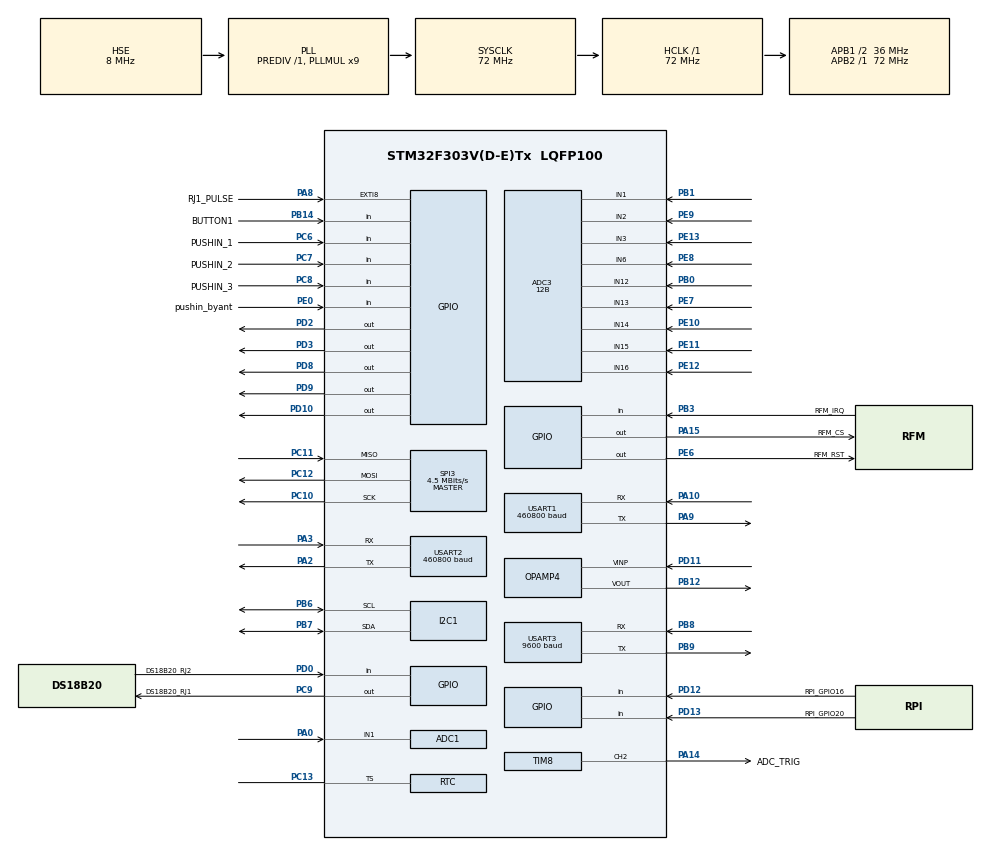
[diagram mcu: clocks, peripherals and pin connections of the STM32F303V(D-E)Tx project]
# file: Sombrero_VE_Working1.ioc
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ADC1.Channel-0\#ChannelRegularConversion=ADC_CHANNEL_1
ADC1.ClockPrescaler=ADC_CLOCK_SYNC_PCLK_DIV4
ADC1.ContinuousConvMode=ENABLE
ADC1.DMAContinuousRequests=ENABLE
ADC1.DataAlign=ADC_DATAALIGN_RIGHT
ADC1.DiscontinuousConvMode=DISABLE
ADC1.EOCSelection=ADC_EOC_SEQ_CONV
ADC1.EnableAnalogWatchDog1=false
ADC1.EnableAnalogWatchDog2=false
ADC1.EnableAnalogWatchDog3=false
ADC1.EnableInjectedConversion=DISABLE
ADC1.EnableRegularConversion=ENABLE
ADC1.ExternalTrigConv=ADC_EXTERNALTRIGCONV_T8_TRGO2
ADC1.ExternalTrigConvEdge=ADC_EXTERNALTRIGCONVEDGE_FALLING
ADC1.LowPowerAutoWait=DISABLE
ADC1.NbrOfConversion=1
ADC1.NbrOfConversionFlag=1
ADC1.Offset-0\#ChannelRegularConversion=0
ADC1.OffsetNumber-0\#ChannelRegularConversion=ADC_OFFSET_NONE
ADC1.Overrun=ADC_OVR_DATA_OVERWRITTEN
ADC1.Rank-0\#ChannelRegularConversion=1
ADC1.Resolution=ADC_RESOLUTION_12B
ADC1.SamplingTime-0\#ChannelRegularConversion=ADC_SAMPLETIME_181CYCLES_5
ADC1.ScanConvMode=ADC_SCAN_DISABLE
ADC1.master=1
ADC3.Channel-0\#ChannelRegularConversion=ADC_CHANNEL_12
ADC3.Channel-1\#ChannelRegularConversion=ADC_CHANNEL_1
ADC3.Channel-2\#ChannelRegularConversion=ADC_CHANNEL_13
ADC3.Channel-3\#ChannelRegularConversion=ADC_CHANNEL_6
ADC3.Channel-4\#ChannelRegularConversion=ADC_CHANNEL_2
ADC3.Channel-5\#ChannelRegularConversion=ADC_CHANNEL_14
ADC3.Channel-6\#ChannelRegularConversion=ADC_CHANNEL_15
ADC3.Channel-7\#ChannelRegularConversion=ADC_CHANNEL_16
ADC3.Channel-8\#ChannelRegularConversion=ADC_CHANNEL_3
ADC3.ClockPrescaler=ADC_CLOCK_SYNC_PCLK_DIV4
ADC3.ContinuousConvMode=ENABLE
ADC3.DMAContinuousRequests=ENABLE
ADC3.DataAlign=ADC_DATAALIGN_RIGHT
ADC3.DiscontinuousConvMode=DISABLE
ADC3.EOCSelection=ADC_EOC_SEQ_CONV
ADC3.EnableAnalogWatchDog1=false
ADC3.EnableAnalogWatchDog2=false
ADC3.EnableAnalogWatchDog3=false
ADC3.EnableInjectedConversion=DISABLE
ADC3.EnableRegularConversion=ENABLE
ADC3.ExternalTrigConv=ADC_EXTERNALTRIGCONV_T8_TRGO2
ADC3.ExternalTrigConvEdge=ADC_EXTERNALTRIGCONVEDGE_FALLING
ADC3.LowPowerAutoWait=DISABLE
ADC3.NbrOfConversion=9
ADC3.NbrOfConversionFlag=1
ADC3.Offset-0\#ChannelRegularConversion=0
ADC3.Offset-1\#ChannelRegularConversion=0
ADC3.Offset-2\#ChannelRegularConversion=0
ADC3.Offset-3\#ChannelRegularConversion=0
ADC3.Offset-4\#ChannelRegularConversion=0
ADC3.Offset-5\#ChannelRegularConversion=0
ADC3.Offset-6\#ChannelRegularConversion=0
ADC3.Offset-7\#ChannelRegularConversion=0
ADC3.Offset-8\#ChannelRegularConversion=0
ADC3.OffsetNumber-0\#ChannelRegularConversion=ADC_OFFSET_NONE
ADC3.OffsetNumber-1\#ChannelRegularConversion=ADC_OFFSET_NONE
ADC3.OffsetNumber-2\#ChannelRegularConversion=ADC_OFFSET_NONE
ADC3.OffsetNumber-3\#ChannelRegularConversion=ADC_OFFSET_NONE
ADC3.OffsetNumber-4\#ChannelRegularConversion=ADC_OFFSET_NONE
ADC3.OffsetNumber-5\#ChannelRegularConversion=ADC_OFFSET_NONE
ADC3.OffsetNumber-6\#ChannelRegularConversion=ADC_OFFSET_NONE
ADC3.OffsetNumber-7\#ChannelRegularConversion=ADC_OFFSET_NONE
ADC3.OffsetNumber-8\#ChannelRegularConversion=ADC_OFFSET_NONE
ADC3.Overrun=ADC_OVR_DATA_OVERWRITTEN
ADC3.Rank-0\#ChannelRegularConversion=1
ADC3.Rank-1\#ChannelRegularConversion=2
ADC3.Rank-2\#ChannelRegularConversion=3
ADC3.Rank-3\#ChannelRegularConversion=4
ADC3.Rank-4\#ChannelRegularConversion=5
ADC3.Rank-5\#ChannelRegularConversion=6
ADC3.Rank-6\#ChannelRegularConversion=7
ADC3.Rank-7\#ChannelRegularConversion=8
ADC3.Rank-8\#ChannelRegularConversion=9
ADC3.Resolution=ADC_RESOLUTION_12B
ADC3.SamplingTime-0\#ChannelRegularConversion=ADC_SAMPLETIME_181CYCLES_5
ADC3.SamplingTime-1\#ChannelRegularConversion=ADC_SAMPLETIME_181CYCLES_5
ADC3.SamplingTime-2\#ChannelRegularConversion=ADC_SAMPLETIME_181CYCLES_5
ADC3.SamplingTime-3\#ChannelRegularConversion=ADC_SAMPLETIME_181CYCLES_5
ADC3.SamplingTime-4\#ChannelRegularConversion=ADC_SAMPLETIME_181CYCLES_5
ADC3.SamplingTime-5\#ChannelRegularConversion=ADC_SAMPLETIME_181CYCLES_5
ADC3.SamplingTime-6\#ChannelRegularConversion=ADC_SAMPLETIME_181CYCLES_5
ADC3.SamplingTime-7\#ChannelRegularConversion=ADC_SAMPLETIME_181CYCLES_5
ADC3.SamplingTime-8\#ChannelRegularConversion=ADC_SAMPLETIME_181CYCLES_5
ADC3.ScanConvMode=ADC_SCAN_ENABLE
ADC3.master=1
ADC4.Channel-0\#ChannelRegularConversion=ADC_CHANNEL_VOPAMP4
ADC4.ClockPrescaler=ADC_CLOCK_SYNC_PCLK_DIV4
ADC4.ContinuousConvMode=ENABLE
ADC4.DMAContinuousRequests=ENABLE
ADC4.DataAlign=ADC_DATAALIGN_RIGHT
ADC4.DiscontinuousConvMode=DISABLE
ADC4.EOCSelection=ADC_EOC_SEQ_CONV
ADC4.EnableAnalogWatchDog1=false
ADC4.EnableAnalogWatchDog2=false
ADC4.EnableAnalogWatchDog3=false
ADC4.EnableInjectedConversion=DISABLE
ADC4.EnableRegularConversion=ENABLE
ADC4.ExternalTrigConv=ADC_EXTERNALTRIGCONV_T8_TRGO2
ADC4.ExternalTrigConvEdge=ADC_EXTERNALTRIGCONVEDGE_FALLING
ADC4.LowPowerAutoWait=DISABLE
ADC4.NbrOfConversion=1
ADC4.NbrOfConversionFlag=1
ADC4.Offset-0\#ChannelRegularConversion=0
ADC4.OffsetNumber-0\#ChannelRegularConversion=ADC_OFFSET_NONE
ADC4.Overrun=ADC_OVR_DATA_OVERWRITTEN
ADC4.Rank-0\#ChannelRegularConversion=1
ADC4.Resolution=ADC_RESOLUTION_12B
ADC4.SamplingTime-0\#ChannelRegularConversion=ADC_SAMPLETIME_181CYCLES_5
ADC4.ScanConvMode=ADC_SCAN_DISABLE
Dma.ADC1.5.Direction=DMA_PERIPH_TO_MEMORY
Dma.ADC1.5.Instance=DMA1_Channel1
Dma.ADC1.5.MemDataAlignment=DMA_MDATAALIGN_HALFWORD
Dma.ADC1.5.MemInc=DMA_MINC_ENABLE
Dma.ADC1.5.Mode=DMA_CIRCULAR
Dma.ADC1.5.PeriphDataAlignment=DMA_PDATAALIGN_HALFWORD
Dma.ADC1.5.PeriphInc=DMA_PINC_DISABLE
Dma.ADC1.5.Priority=DMA_PRIORITY_HIGH
Dma.ADC3.3.Direction=DMA_PERIPH_TO_MEMORY
Dma.ADC3.3.Instance=DMA2_Channel5
Dma.ADC3.3.MemDataAlignment=DMA_MDATAALIGN_HALFWORD
Dma.ADC3.3.MemInc=DMA_MINC_ENABLE
Dma.ADC3.3.Mode=DMA_CIRCULAR
Dma.ADC3.3.PeriphDataAlignment=DMA_PDATAALIGN_HALFWORD
Dma.ADC3.3.PeriphInc=DMA_PINC_DISABLE
Dma.ADC3.3.Priority=DMA_PRIORITY_HIGH
Dma.ADC4.4.Direction=DMA_PERIPH_TO_MEMORY
Dma.ADC4.4.Instance=DMA2_Channel2
Dma.ADC4.4.MemDataAlignment=DMA_MDATAALIGN_HALFWORD
Dma.ADC4.4.MemInc=DMA_MINC_ENABLE
Dma.ADC4.4.Mode=DMA_CIRCULAR
Dma.ADC4.4.PeriphDataAlignment=DMA_PDATAALIGN_HALFWORD
Dma.ADC4.4.PeriphInc=DMA_PINC_DISABLE
Dma.ADC4.4.Priority=DMA_PRIORITY_LOW
Dma.Request0=USART1_RX
Dma.Request1=USART1_TX
Dma.Request2=USART2_RX
Dma.Request3=ADC3
Dma.Request4=ADC4
Dma.Request5=ADC1
Dma.USART1_RX.0.Direction=DMA_PERIPH_TO_MEMORY
Dma.USART1_RX.0.Instance=DMA1_Channel5
Dma.USART1_RX.0.MemDataAlignment=DMA_MDATAALIGN_BYTE
Dma.USART1_RX.0.MemInc=DMA_MINC_ENABLE
Dma.USART1_RX.0.Mode=DMA_NORMAL
Dma.USART1_RX.0.PeriphDataAlignment=DMA_PDATAALIGN_BYTE
Dma.USART1_RX.0.PeriphInc=DMA_PINC_DISABLE
Dma.USART1_RX.0.Priority=DMA_PRIORITY_LOW
Dma.USART1_TX.1.Direction=DMA_MEMORY_TO_PERIPH
Dma.USART1_TX.1.Instance=DMA1_Channel4
Dma.USART1_TX.1.MemDataAlignment=DMA_MDATAALIGN_BYTE
Dma.USART1_TX.1.MemInc=DMA_MINC_ENABLE
Dma.USART1_TX.1.Mode=DMA_NORMAL
Dma.USART1_TX.1.PeriphDataAlignment=DMA_PDATAALIGN_BYTE
Dma.USART1_TX.1.PeriphInc=DMA_PINC_DISABLE
Dma.USART1_TX.1.Priority=DMA_PRIORITY_LOW
Dma.USART2_RX.2.Direction=DMA_PERIPH_TO_MEMORY
Dma.USART2_RX.2.Instance=DMA1_Channel6
Dma.USART2_RX.2.MemDataAlignment=DMA_MDATAALIGN_BYTE
Dma.USART2_RX.2.MemInc=DMA_MINC_ENABLE
Dma.USART2_RX.2.Mode=DMA_NORMAL
Dma.USART2_RX.2.PeriphDataAlignment=DMA_PDATAALIGN_BYTE
Dma.USART2_RX.2.PeriphInc=DMA_PINC_DISABLE
Dma.USART2_RX.2.Priority=DMA_PRIORITY_LOW
I2C1.OwnAddress=21
I2C1.Timing=0x10808DD3
Mcu.Family=STM32F3
Mcu.Name=STM32F303V(D-E)Tx
Mcu.Package=LQFP100
NVIC.ADC1_2_IRQn=true\:0\:0\:false\:false\:true\:true
NVIC.ADC3_IRQn=true\:0\:0\:false\:false\:true\:true
NVIC.ADC4_IRQn=true\:0\:0\:false\:false\:true\:true
NVIC.DMA1_Channel1_IRQn=true\:0\:0\:false\:false\:true\:false
NVIC.DMA1_Channel4_IRQn=true\:0\:0\:false\:false\:true\:false
NVIC.DMA1_Channel5_IRQn=true\:0\:0\:false\:false\:true\:false
NVIC.DMA1_Channel6_IRQn=true\:0\:0\:false\:false\:true\:false
NVIC.DMA2_Channel2_IRQn=true\:0\:0\:false\:false\:true\:false
NVIC.DMA2_Channel5_IRQn=true\:0\:0\:false\:false\:true\:false
NVIC.EXTI9_5_IRQn=true\:0\:0\:false\:false\:true\:true
NVIC.PriorityGroup=NVIC_PRIORITYGROUP_4
NVIC.TAMP_STAMP_IRQn=true\:0\:0\:false\:false\:true\:true
NVIC.TIM1_UP_TIM16_IRQn=true\:0\:0\:false\:false\:true\:true
NVIC.TIM8_TRG_COM_IRQn=true\:0\:0\:false\:false\:true\:true
NVIC.TIM8_UP_IRQn=true\:0\:0\:false\:false\:true\:true
NVIC.USART1_IRQn=true\:0\:0\:false\:false\:true\:true
NVIC.USART2_IRQn=true\:0\:0\:false\:false\:true\:true
OPAMP4.SelfCalibration=Disable
PA0.Mode=IN1-Single-Ended
PA0.Signal=ADC1_IN1
PA10.Mode=Asynchronous
PA10.Signal=USART1_RX
PA14.GPIO_Label=ADC_TRIG
PA14.Signal=S_TIM8_CH2
PA15.GPIO_Label=RFM_CS
PA15.GPIO_ModeDefaultOutputPP=GPIO_MODE_OUTPUT_PP
PA15.GPIO_PuPd=GPIO_NOPULL
PA15.GPIO_Speed=GPIO_SPEED_FREQ_HIGH
PA15.PinState=GPIO_PIN_SET
PA15.Signal=GPIO_Output
PA2.Mode=Asynchronous
PA2.Signal=USART2_TX
PA3.Mode=Asynchronous
PA3.Signal=USART2_RX
PA8.GPIO_Label=RJ1_PULSE
PA8.GPIO_PuPd=GPIO_PULLDOWN
PA8.Signal=GPXTI8
PA9.Mode=Asynchronous
PA9.Signal=USART1_TX
PB0.Mode=IN12-Single-Ended
PB0.Signal=ADC3_IN12
PB1.Mode=IN1-Single-Ended
PB1.Signal=ADC3_IN1
PB12.Mode=Follower
PB12.Signal=OPAMP4_VOUT
PB14.GPIO_Label=BUTTON1
PB14.Signal=GPIO_Input
PB3.GPIO_Label=RFM_IRQ
PB3.GPIO_PuPd=GPIO_NOPULL
PB3.Signal=GPIO_Input
PB6.Mode=I2C
PB6.Signal=I2C1_SCL
PB7.Mode=I2C
PB7.Signal=I2C1_SDA
PB8.Mode=Asynchronous
PB8.Signal=USART3_RX
PB9.Mode=Asynchronous
PB9.Signal=USART3_TX
PC10.Mode=Full_Duplex_Master
PC10.Signal=SPI3_SCK
PC11.Mode=Full_Duplex_Master
PC11.Signal=SPI3_MISO
PC12.Mode=Full_Duplex_Master
PC12.Signal=SPI3_MOSI
PC13.Mode=Timestamp enabled
PC13.Signal=RTC_TS
PC14-OSC32_IN.Mode=LSE-External-Oscillator
PC14-OSC32_IN.Signal=RCC_OSC32_IN
PC15-OSC32_OUT.Mode=LSE-External-Oscillator
PC15-OSC32_OUT.Signal=RCC_OSC32_OUT
PC6.GPIO_Label=PUSHIN_1
PC6.Signal=GPIO_Input
PC7.GPIO_Label=PUSHIN_2
PC7.Signal=GPIO_Input
PC8.GPIO_Label=PUSHIN_3
PC8.Signal=GPIO_Input
PC9.GPIO_Label=DS18B20_RJ1
PC9.Signal=GPIO_Output
PD0.GPIO_Label=DS18B20_RJ2
PD0.Signal=GPIO_Input
PD10.Signal=GPIO_Output
PD11.Mode=Follower
PD11.Signal=OPAMP4_VINP
PD12.GPIO_Label=RPI_GPIO16
PD12.GPIO_PuPd=GPIO_PULLDOWN
PD12.Signal=GPIO_Input
PD13.GPIO_Label=RPI_GPIO20
PD13.GPIO_PuPd=GPIO_PULLDOWN
PD13.Signal=GPIO_Input
PD2.Signal=GPIO_Output
PD3.Signal=GPIO_Output
PD8.Signal=GPIO_Output
PD9.Signal=GPIO_Output
PE0.GPIO_Label=pushin_byant
PE0.Signal=GPIO_Input
PE10.Mode=IN14-Single-Ended
PE10.Signal=ADC3_IN14
PE11.Mode=IN15-Single-Ended
PE11.Signal=ADC3_IN15
PE12.Mode=IN16-Single-Ended
PE12.Signal=ADC3_IN16
PE13.Mode=IN3-Single-Ended
PE13.Signal=ADC3_IN3
PE6.GPIO_Label=RFM_RST
PE6.PinState=GPIO_PIN_RESET
PE6.Signal=GPIO_Output
PE7.Mode=IN13-Single-Ended
PE7.Signal=ADC3_IN13
PE8.Signal=ADCx_IN6P
PE9.Mode=IN2-Single-Ended
PE9.Signal=ADC3_IN2
PF0-OSC_IN.Mode=HSE-External-Oscillator
PF0-OSC_IN.Signal=RCC_OSC_IN
PF1-OSC_OUT.Mode=HSE-External-Oscillator
PF1-OSC_OUT.Signal=RCC_OSC_OUT
PF2.Signal=ADCx_IN10
ProjectManager.HeapSize=0x200
ProjectManager.StackSize=0x400
ProjectManager.TargetToolchain=Makefile
RCC.AHBFreq_Value=72000000
RCC.APB1CLKDivider=RCC_HCLK_DIV2
RCC.APB1Freq_Value=36000000
RCC.APB1TimFreq_Value=72000000
RCC.APB2Freq_Value=72000000
RCC.APB2TimFreq_Value=72000000
RCC.CortexFreq_Value=72000000
RCC.HCLKFreq_Value=72000000
RCC.HSE_VALUE=8000000
RCC.HSI_VALUE=8000000
RCC.I2c1ClockSelection=RCC_I2C1CLKSOURCE_SYSCLK
RCC.PLLMUL=RCC_PLL_MUL9
RCC.PLLSourceVirtual=RCC_PLLSOURCE_HSE
RCC.PRESCALERUSB=RCC_USBCLKSOURCE_PLL_DIV1_5
RCC.RTCClockSelection=RCC_RTCCLKSOURCE_LSE
RCC.SYSCLKFreq_VALUE=72000000
RCC.SYSCLKSourceVirtual=RCC_SYSCLKSOURCE_PLLCLK
RCC.USBFreq_Value=48000000
RCC.Uart4ClockSelection=RCC_UART4CLKSOURCE_SYSCLK
RCC.Usart1ClockSelection=RCC_USART1CLKSOURCE_SYSCLK
RCC.Usart2ClockSelection=RCC_USART2CLKSOURCE_SYSCLK
RCC.Usart3ClockSelection=RCC_USART3CLKSOURCE_SYSCLK
RTC.Date=10
RTC.Hours=18
RTC.Month=RTC_MONTH_FEBRUARY
RTC.Year=20
SH.ADCx_IN10.0=ADC1_IN10
SH.ADCx_IN6P.0=ADC3_IN6,IN6-Single-Ended
SH.S_TIM8_CH2.0=TIM8_CH2,PWM Generation2 CH2
SPI3.BaudRatePrescaler=SPI_BAUDRATEPRESCALER_8
SPI3.CalculateBaudRate=4.5 MBits/s
SPI3.DataSize=SPI_DATASIZE_8BIT
SPI3.Direction=SPI_DIRECTION_2LINES
SPI3.Mode=SPI_MODE_MASTER
SPI3.VirtualType=VM_MASTER
TIM16.AutoReloadPreload=TIM_AUTORELOAD_PRELOAD_DISABLE
TIM16.Period=9999
TIM16.Prescaler=710
TIM8.AutoReloadPreload=TIM_AUTORELOAD_PRELOAD_DISABLE
TIM8.Channel-PWM\ Generation2\ CH2=TIM_CHANNEL_2
TIM8.Period=9999
TIM8.Prescaler=71
TIM8.TIM_MasterOutputTrigger2=TIM_TRGO2_OC2REF
USART1.BaudRate=460800
USART1.DMADisableonRxErrorParam=ADVFEATURE_DMA_DISABLEONRXERROR
USART1.VirtualMode-Asynchronous=VM_ASYNC
USART2.BaudRate=460800
USART2.DMADisableonRxErrorParam=ADVFEATURE_DMA_DISABLEONRXERROR
USART2.VirtualMode-Asynchronous=VM_ASYNC
USART3.BaudRate=9600
USART3.VirtualMode-Asynchronous=VM_ASYNC
VP_ADC4_OPAMP_INTERNAL4.Mode=IN-OPAMP4
VP_RTC_VS_RTC_Activate.Mode=RTC_Enabled
VP_RTC_VS_RTC_Calendar.Mode=RTC_Calendar
VP_TIM16_VS_ClockSourceINT.Mode=Enable_Timer
VP_TIM16_VS_OPM.Mode=OPM_bit
board=custom

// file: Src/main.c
/**
  ******************************************************************************
  * @file           : main.c
  * @brief          : Main program body
  ******************************************************************************
  ** This notice applies to any and all portions of this file
  * that are not between comment pairs USER CODE BEGIN and
  * USER CODE END. Other portions of this file, whether
  * inserted by the user or by software development tools
  * are owned by their respective copyright owners.
  *
  * COPYRIGHT(c) 2020 STMicroelectronics
  *
  * Redistribution and use in source and binary forms, with or without modification,
  * are permitted provided that the following conditions are met:
  *   1. Redistributions of source code must retain the above copyright notice,
  *      this list of conditions and the following disclaimer.
  *   2. Redistributions in binary form must reproduce the above copyright notice,
  *      this list of conditions and the following disclaimer in the documentation
  *      and/or other materials provided with the distribution.
  *   3. Neither the name of STMicroelectronics nor the names of its contributors
  *      may be used to endorse or promote products derived from this software
  *      without specific prior written permission.
  *
  * THIS SOFTWARE IS PROVIDED BY THE COPYRIGHT HOLDERS AND CONTRIBUTORS "AS IS"
  * AND ANY EXPRESS OR IMPLIED WARRANTIES, INCLUDING, BUT NOT LIMITED TO, THE
  * IMPLIED WARRANTIES OF MERCHANTABILITY AND FITNESS FOR A PARTICULAR PURPOSE ARE
  * DISCLAIMED. IN NO EVENT SHALL THE COPYRIGHT HOLDER OR CONTRIBUTORS BE LIABLE
  * FOR ANY DIRECT, INDIRECT, INCIDENTAL, SPECIAL, EXEMPLARY, OR CONSEQUENTIAL
  * DAMAGES (INCLUDING, BUT NOT LIMITED TO, PROCUREMENT OF SUBSTITUTE GOODS OR
  * SERVICES; LOSS OF USE, DATA, OR PROFITS; OR BUSINESS INTERRUPTION) HOWEVER
  * CAUSED AND ON ANY THEORY OF LIABILITY, WHETHER IN CONTRACT, STRICT LIABILITY,
  * OR TORT (INCLUDING NEGLIGENCE OR OTHERWISE) ARISING IN ANY WAY OUT OF THE USE
  * OF THIS SOFTWARE, EVEN IF ADVISED OF THE POSSIBILITY OF SUCH DAMAGE.
  *
  ******************************************************************************
  */
#include "main.h"
#include "stm32f3xx_hal.h"
#include "adc.h"
#include "dma.h"
#include "i2c.h"
#include "opamp.h"
#include "rtc.h"
#include "spi.h"
#include "tim.h"
#include "usart.h"
#include "gpio.h"

/* USER CODE BEGIN Includes */
#include <math.h>
#include <string.h>
#include <stdbool.h>
#include "jsmn.h"
#include "RFM69.h"
#include "RFM69_ext.h"
//#include "ds18b20.h"
/* USER CODE END Includes */

/* USER CODE BEGIN PV */
/* Private variables ---------------------------------------------------------*/

//--------
// MODES
//--------
// 0 = Standalone
// 1 = rPi
// 2 = ESP32
int mode = 1; // initialised as rPi mode for testing.

//------------------------------------------------
// timing, ADCs, power and frequency variables
//------------------------------------------------
#define MID_ADC_READING 2048
uint32_t posting_interval = 2500; // millis to post data at.
bool readings_ready = false;
bool readings_requested = false;
bool first_readings = false;
double V_RATIO;
double I_RATIO;
extern uint16_t const adc_buff_half_size;
const double adc_conversion_time = (194.0*(1.0/(72000000.0/4))); // time in seconds for an ADC conversion, for estimating mains AC frequency.
//const double adc_conversion_time = (614.0*(1.0/(72000000.0/4))); // time in seconds for an ADC conversion, for estimating mains AC frequency.
//const double phase_resolution = (adc_conversion_time / (1.0/50.0)) * 360.0);
double mains_frequency;
double Ws_accumulator[CTn];
//bool Vclipped; // unlikely?
//bool hunt_PF;

//------------------------
// Channel Accumulators
//------------------------
typedef struct channel_
{
  int64_t sum_P;
  uint64_t sum_V_sq;
  uint64_t sum_I_sq;
  int64_t sum_V;
  int64_t sum_I;
  uint32_t count;
  uint32_t cycles;
  uint32_t phase_shift;
  uint32_t positive_V;
  uint32_t last_positive_V;
  uint32_t Iclipped;
} channel_t; // data struct per CT channel, stm32 only does 32-bit struct items, anything else gets padded out to 32-bit automatically by

static channel_t channels[CTn];
static channel_t channels_ready[CTn];
bool channel_rdy_bools[CTn];

//----------------
// CALIBRATION
//----------------
const double VOLTS_PER_DIV = (3.3 / 4096.0);
//double VCAL = 266.1238757156; // note - single-phase proto board
//double VCAL = 224.4135906687; // note - 3-phase proto board
double VCAL = 236.660160908; // dan's 2nd hand ac-ac adaptor
double ICAL = 90.9;

//------------------------
// UART SERIAL BUFFERS
//------------------------
extern char log_buffer[];
char rx_string[COMMAND_BUFFER_SIZE];
char string_buffer[200];
char readings_rdy_buffer[1000];

//--------
// RADIO
//--------
bool radio_send = 0; // set to 1 to send test data with RFM69.
uint16_t networkID = 210; // a.k.a. Network Group
uint8_t nodeID = 10; // this node's ID (address).
uint16_t freqBand = 433; // MHz
uint8_t toAddress = 1; // destination address.
bool requestACK = false; // untested.
char encryptkey[20] = {'\0'}; // twenty character encrypt key, or  '\0'  for nothing.
//char encryptkey[20] = "asdfasdfasdfasdf"; // twenty character encrypt key, or  '\0'  for nothing.
typedef struct {
  uint32_t nodeId;
  uint32_t uptime;
  //double temperature;   // other data
} Payload;
Payload radioData;

//----------------
// Time variables
//----------------
uint32_t current_millis;
uint32_t previous_millis;

//--------
// MISC
//--------
uint32_t pulseCount = 0;

/* USER CODE END PV */

void SystemClock_Config(void);

/* USER CODE BEGIN PFP */
/* Private function prototypes -----------------------------------------------*/

/* USER CODE END PFP */

/* USER CODE BEGIN 0 */
double Vrms;
double Irms;
double realPower;
double apparentPower;
double powerFactor;

//------------------------------------------
// Calculate Power Data for one Channel
//------------------------------------------
void calcPower (int ch)
{
  channel_t *chn = &channels_ready[ch];

  double Vmean = (float)chn->sum_V / (float)chn->count;
  double Imean = (float)chn->sum_I / (float)chn->count;

  double f32sum_V_sq_avg = (float)chn->sum_V_sq / (float)chn->count;
  f32sum_V_sq_avg -= (Vmean * Vmean); // offset removal

  double f32sum_I_sq_avg = (float)chn->sum_I_sq / (float)chn->count;
  f32sum_I_sq_avg -= (Imean * Imean); // offset removal

  if (f32sum_V_sq_avg < 0) f32sum_V_sq_avg = 0; // if offset removal cause a negative number
  if (f32sum_I_sq_avg < 0) f32sum_I_sq_avg = 0; // make it 0 to avoid a nan at sqrt.

  Vrms = V_RATIO * sqrt(f32sum_V_sq_avg);
  Irms = I_RATIO * sqrt(f32sum_I_sq_avg);

  double f32_sum_P_avg = (float)chn->sum_P / (float)chn->count;
  double mean_P = f32_sum_P_avg - (Vmean * Imean); // offset removal

  realPower = V_RATIO * I_RATIO * mean_P;
  apparentPower = Vrms * Irms;

  // calculate PF, is it necessary to prevent dividing by zero error?
  if (apparentPower != 0) { powerFactor = realPower / apparentPower; }
  else powerFactor = 0;

  Ws_accumulator[ch] += (realPower * (posting_interval / 1000.0));
}

// Finite Impulse Response (FIR) filter-like Power Factor correction.
// based on setting the voltage phase per individual CT channel.
int hunt_PF[CTn];            // which channel are we hunting max power factor on?
// 0 = no power factor hunting.
// 1 = power factor hunt start.
// 2 = power factor hunt to the right. (increase VT lead).
// 3 = power factor hunt to the left. (increase VT lag).
// ?? 4 = hunt complete.
int phase_corrections[CTn];   // store of phase corrections per channel.
double last_powerFactor[CTn]; // PF from previous readings.
double powerFactor_now[CTn];  // PF from most recent readings.
bool pfhuntDone[CTn] = {false};
//------------------------------------------
// Process Buffer into Accumulators.
//------------------------------------------
void process_frame (uint16_t offset)
{
  HAL_GPIO_WritePin(GPIOD, GPIO_PIN_10, GPIO_PIN_SET); // blink the led

  uint16_t sample_V, sample_I;
  int16_t signed_V, signed_I;
   // to hunt one adc_buffer_index per readings_ready, because it's only in readings_ready where PF is calc'd.
  /*
  sprintf(log_buffer, "adc_buff_half_size:%d\r\n", adc_buff_half_size);
  debug_printf(log_buffer);
  log_buffer[0] = '\0';
  */

  for (uint16_t i = 0; i < adc_buff_half_size; i += CTn) // CTn = CT channel quanity.
  {

    /* // debug buffer
    sprintf(log_buffer, "signed_v:%d\r\n", signed_V);
    debug_printf(log_buffer);
    log_buffer[0] = '\0';
    */

    //----------------------------------------
    // Power
    //----------------------------------------
    // Cycle through channels, accumulating
    for (int ch = 0; ch < CTn; ch++)
    {
      channel_t *channel = &channels[ch];
      //----------------------------------------
      // Voltage
      //sample_V = adc1_dma_buff[offset + i + ch];
      sample_V = adc1_dma_buff[offset + i + ch + phase_corrections[ch]];  // phase correction could happen here to have higher resolution.
                                                                          // to shift voltage gives finer grained phase resolution in single-phase mode
                                                                          // because the voltage channel is used by all CTs.
      //if (sample_V == 4095) Vclipped = true; // unlikely
      signed_V = sample_V - MID_ADC_READING;
      channel->sum_V += signed_V;
      channel->sum_V_sq += signed_V * signed_V;
      //----------------------------------------
      // Current
      sample_I = adc3_dma_buff[offset + i + ch];
      if (sample_I == 4095) channel->Iclipped = true; // much more likely, useful safety information.
      signed_I = sample_I - MID_ADC_READING; // mid-rail removal possible through ADC4, option for future perhaps.
      channel->sum_I += signed_I;
      channel->sum_I_sq += signed_I * signed_I;
      //----------------------------------------
      // Power
      channel->sum_P += signed_V * signed_I;

      channel->count++;

      // upwards-zero-crossing detection, whole waveforms.
      channel->last_positive_V = channel->positive_V; // retrieve the previous value.
      if (signed_V >= 0) { channel->positive_V = true; } // changed > to >= . not important as MID_ADC_READING 2048 not accurate anyway.
      else { channel->positive_V = false; }
      //--------------------------------------------------
      //--------------------------------------------------
      if (!channel->last_positive_V && channel->positive_V) { // looking out for a upwards-zero crossing.
        // if memset later on sets everything to false, doesn't one cycle too many get counted automatically on the next round?
        channel->cycles++; // rather than count cycles for readings_ready, better to have the main loop ask for them.
        // debug cycle count
        /*
        sprintf(log_buffer, "cycles%d:%ld\r\n", ch, channel->cycles);
        debug_printf(log_buffer);
        log_buffer[0] = '\0';
        */
        //----------------------------------------

        if (hunt_PF[ch] == 0 || hunt_PF[ch] == 4 || pfhuntDone[ch]) {
          goto pfSkip; // skip if channel done.
        }
        else if (hunt_PF[ch] == 1) {
          phase_corrections[ch]++; hunt_PF[ch] = 2; pfhuntDone[ch] = true;
        }
        else if (hunt_PF[ch] == 2) {
          if (last_powerFactor[ch] > powerFactor_now[ch]) { hunt_PF[ch] = 3; phase_corrections[ch]--; }
          else phase_corrections[ch]++;
          pfhuntDone[ch] = true;
        }
        else if (hunt_PF[ch] == 3) {
          if (last_powerFactor[ch] > powerFactor_now[ch]) { hunt_PF[ch] = 4; } //
          else phase_corrections[ch]--;
          pfhuntDone[ch] = true;
        }
        // print phase corrections.
        sprintf(log_buffer, "pfCorrection%d:%d\r\n", ch, phase_corrections[ch]);
        debug_printf(log_buffer);
        log_buffer[0] = '\0';

        pfSkip: //

        //----------------------------------------

        if (readings_requested && !channel_rdy_bools[ch]) { // if readings are needed by the main loop and channel is not copied/ready.
          channel_t *channel_ready = &channels_ready[ch];
          // copy accumulators for use in main loop.
          memcpy((void*)channel_ready, (void*)channel, sizeof(channel_t));
          // reset accumulators to zero.
          memset((void*)channel, 0, sizeof(channel_t)); channel->positive_V = true; // set last value to true to avoid extra cycle count.
          // set channel_ready for the channel.
          channel_rdy_bools[ch] = true;
          // are all the channels ready?
          int chn_ready_count = 0;
          for (int j = 0; j < CTn; j++) {
            if (channel_rdy_bools[j]) chn_ready_count++;
          }
          if (chn_ready_count == CTn) { readings_ready = true; readings_requested = false; }    // if all the channels are ready
          // test waveform sync. printed result should go from 1 to 9.
          /*
          sprintf(log_buffer, "channelsRdy:%d\r\n", chn_ready_count);
          debug_printf(log_buffer);
          log_buffer[0] = '\0';
          */
        }
      }
      //--------------------------------------------------
      //--------------------------------------------------
    }
  }

  HAL_GPIO_WritePin(GPIOD, GPIO_PIN_10, GPIO_PIN_RESET);
} // end process_frame().

/* USER CODE END 0 */

int main(void)
{
  /* USER CODE BEGIN 1 */
  V_RATIO = VCAL * VOLTS_PER_DIV;
  I_RATIO = ICAL * VOLTS_PER_DIV;
  /* USER CODE END 1 */

  /* MCU Configuration----------------------------------------------------------*/

  /* Reset of all peripherals, Initializes the Flash interface and the Systick. */
  HAL_Init();

  /* Configure the system clock */
  SystemClock_Config();

  /* Initialize all configured peripherals */
  MX_GPIO_Init();
  MX_DMA_Init();
  MX_USART2_UART_Init();
  MX_OPAMP4_Init();
  MX_ADC3_Init();
  MX_TIM8_Init();
  MX_ADC1_Init();
  MX_USART1_UART_Init();
  MX_SPI3_Init();
  MX_TIM16_Init();
  MX_USART3_UART_Init();
  MX_I2C1_Init();
  MX_RTC_Init();
  MX_ADC4_Init();
  /* USER CODE BEGIN 2 */

  debug_printf("\r\n\r\nstart, connect VT\r\n");

  // is the rPi Connected?
  if (HAL_GPIO_ReadPin(RPI_GPIO16_GPIO_Port, RPI_GPIO16_Pin) == 1 && HAL_GPIO_ReadPin(RPI_GPIO20_GPIO_Port, RPI_GPIO20_Pin) == 1)
  {
    debug_printf("rPi connected!\r\n");
    mode = 1;
  }
  //------------------------
  // RADIO begin
  //------------------------
  RFM69_RST();
  HAL_Delay(10);
  if (RFM69_initialize(freqBand, nodeID, networkID))
  {
    sprintf(log_buffer, "RFM69 Initialized. Freq %dMHz. Node %d. Group %d.\r\n", freqBand, nodeID, networkID);
    debug_printf(log_buffer);
    log_buffer[0] = '\0';
    //RFM69_readAllRegs(); // debug output
  }
  else
  {
    debug_printf("RFM69 not connected.\r\n");
  }
  if (encryptkey[0] != '\0') // if we have a encryption key, radio encryption will be set.
  {
    RFM69_encrypt(encryptkey);
  }

  //------------------------
  // ADC BEGIN
  //------------------------
  HAL_ADCEx_Calibration_Start(&hadc1, ADC_SINGLE_ENDED);
  HAL_ADCEx_Calibration_Start(&hadc3, ADC_SINGLE_ENDED);
  HAL_ADCEx_Calibration_Start(&hadc4, ADC_SINGLE_ENDED);
  HAL_Delay(2);
  HAL_OPAMP_Start(&hopamp4);
  HAL_Delay(2);
  start_ADCs();

  //init_ds18b20s();

  //------------------------
  // UART DMA RX BEGIN
  //------------------------
  __HAL_UART_ENABLE_IT(&huart1, UART_IT_IDLE);
  HAL_UART_Receive_DMA(&huart1, rx_buff, sizeof(rx_buff));
  __HAL_UART_ENABLE_IT(&huart2, UART_IT_IDLE);
  HAL_UART_Receive_DMA(&huart2, rx_buff, sizeof(rx_buff));

  debug_printf("\r\n");
  /* USER CODE END 2 */

  /* Infinite loop */
  /* USER CODE BEGIN WHILE */
  while (1)
  {
    current_millis = HAL_GetTick();

    //process_ds18b20s();

    //---------------------------------------
    // Interval for posting power readings.
    //---------------------------------------
    if (current_millis - previous_millis >= posting_interval) {
      uint32_t correction = current_millis - previous_millis - posting_interval;
      previous_millis = current_millis - correction;
      if (readings_requested)
      {
        debug_printf("No voltage waveform present\r\n");
      }
      readings_requested = true;
    }

    //------------------------
    // ADC DMA buffer flags. Process Frames.
    //------------------------
    if (conv_hfcplt_flag)
    {
      conv_hfcplt_flag = false;
      process_frame(0); // process 1st half of buffer.
    }
    if (conv_cplt_flag)
    {
      conv_cplt_flag = false;
      process_frame(adc_buff_half_size); // process 2nd half of buffer.
    }
    // HAL_Delay(200); // ADC buffer overrun flag test.

    //------------------------------------------------
    // Check to post primary data.
    //------------------------------------------------
    if (readings_ready)
    {
      readings_ready = false; memset(channel_rdy_bools, 0, sizeof(channel_rdy_bools)); // clear flags.
      if (!first_readings) { first_readings = true; goto EndJump; } // discard the first set as beginning of 1st waveform not tracked.

      HAL_GPIO_WritePin(GPIOD, GPIO_PIN_9, GPIO_PIN_SET); // blink the led
      // HAL_GPIO_WritePin(GPIOD, GPIO_PIN_8, 1); HAL_TIM_Base_Start_IT(&htim16); // LED blink

      sprintf(readings_rdy_buffer, "STM:1.0,"); // initital write to buffer.
      pfhuntDone[0] = false;
      for (int ch = 0; ch < CTn; ch++)
      {
        channel_t *chn = &channels_ready[ch];

        last_powerFactor[ch] = powerFactor_now[ch];
        calcPower(ch);
        powerFactor_now[ch] = powerFactor;

        if (ch == 0) { // estimate mains_frequency on a single channel, no need for more.
          mains_frequency = 1.0/(((chn->count * CTn) / chn->cycles) * adc_conversion_time);
        }

        int _ch = ch + 1; // nicer looking channel numbers. 1 starts at 1 instead of 0.
        if (mode == 1) {
          sprintf(string_buffer, "V%d:%.2f,I%d:%.3f,RP%d:%.1f,PF%d:%.3f,Joules%d:%.3f,Clip%d:%ld,cycles%d:%ld,samples%d:%ld,", _ch, Vrms, _ch, Irms, _ch, realPower, _ch, powerFactor, _ch, Ws_accumulator[ch], _ch, chn->Iclipped, _ch, chn->cycles, _ch, chn->count);
          strcat(readings_rdy_buffer, string_buffer);
        }
      }

      // Main frequency estimate.
      sprintf(string_buffer, "Hz_estimate:%.1f,", mains_frequency);
      if (mode == 1) strcat(readings_rdy_buffer, string_buffer);
      // Millis
      sprintf(string_buffer, "millis:%ld,", current_millis);
      if (mode == 1) strcat(readings_rdy_buffer, string_buffer);
      // Pulsecount
      sprintf(string_buffer, "PC:%ld,", pulseCount);
      if (mode == 1) strcat(readings_rdy_buffer, string_buffer);

      /*
      // get an average of the OPAMP4 ADC4 buffer.
      uint32_t ADC4_buff_accumulator = 0;
      for (int i = 0; i < sizeof(adc4_dma_buff); i++) {
        ADC4_buff_accumulator += adc4_dma_buff[i];
        //sprintf(log_buffer, "%d\r\n", adc4_dma_buff[i]);
        //debug_printf(log_buffer);
      }
      //log_buffer[0] = '\0';
      double ADC4_buff_avg = ADC4_buff_accumulator / sizeof(adc4_dma_buff);
      sprintf(string_buffer, "ADC4_avg:%.2f,", ADC4_buff_avg);
      if (mode == 1) strcat(readings_rdy_buffer, string_buffer);
      */

      // has the adc buffer overrun?
      sprintf(string_buffer, "buffOverrun:%d", overrun_adc_buffer);
      overrun_adc_buffer = 0; // reset
      if (mode == 1) strcat(readings_rdy_buffer, string_buffer);

      // close the string
      if (mode == 1) strcat(readings_rdy_buffer, "\r\n");

      // RFM69 send.
      if (radio_send) // sending data, test data only.
      {
        radioData.nodeId = nodeID;
        radioData.uptime = HAL_GetTick();
        HAL_GPIO_WritePin(GPIOD, GPIO_PIN_8, 1); HAL_TIM_Base_Start_IT(&htim16); // LED blink
        RFM69_send(toAddress, (const void *)(&radioData), sizeof(radioData), requestACK);
        //RFM69_sendWithRetry(toAddress, (const void *)(&radioData), sizeof(radioData), 3,20);
      }

      HAL_GPIO_WritePin(GPIOD, GPIO_PIN_9, GPIO_PIN_RESET);
    } EndJump: // end main readings_ready function.

    //-------------------------------
    // RFM69 Rx
    //-------------------------------
    if (RFM69_ReadDIO0Pin()) {
      debug_printf("RFM69 DIO0 high.\r\n");
      RFM69_interruptHandler();
    }
    if (RFM69_receiveDone()) {
      HAL_GPIO_WritePin(GPIOD, GPIO_PIN_8, 1); // LED blink
      HAL_TIM_Base_Start_IT(&htim16); // LED blink, interrupt based.
      // debug output below.
      debug_printf("RFM69 payload received.\r\n");
      PrintRawBytes();
      PrintStruct();
      PrintByteByByte();
    }

    //------------------------
    // UART Rx check
    //------------------------
    if (usart1_rx_flag)
    {
      usart1_rx_flag = 0;
      memcpy(rx_string, rx_buff, sizeof(rx_buff));
      memset(rx_buff, 0, sizeof(rx_buff));
      huart1.hdmarx->Instance->CCR &= ~DMA_CCR_EN;
      huart1.hdmarx->Instance->CNDTR = sizeof(rx_buff);
      huart1.hdmarx->Instance->CCR |= DMA_CCR_EN;
      rPi_printf("STM32:"); // respond to command with "STM32:" prefix.
      json_parser(rx_string); // the actual response is posted from json_parser() result;
      //sprintf(log_buffer, "uartRxDebug:%s\r\n", rx_string);
    }
    if (usart2_rx_flag)
    {
      hunt_PF[0] = true; // test powerfactor hunting.
      usart2_rx_flag = 0;
      memcpy(rx_string, rx_buff, sizeof(rx_buff));
      memset(rx_buff, 0, sizeof(rx_buff));
      huart2.hdmarx->Instance->CCR &= ~DMA_CCR_EN;
      huart2.hdmarx->Instance->CNDTR = sizeof(rx_buff);
      huart2.hdmarx->Instance->CCR |= DMA_CCR_EN;
      rPi_printf("STM32:"); // respond to command with "STM32:" prefix.
      json_parser(rx_string); // the actual response is posted from json_parser() result;
      debug_printf("test\r\n");
      //(!strcmp(select, "boot_reason"))
      //sprintf(log_buffer, "uartRxDebug:%s\r\n", rx_string);
      //rPi_printf(log_buffer);
      //rPi_printf("baker_street:100:D:doodoodooo:80085\r\n");
    }

    //-------------------------------
    // Print char buffers to serial.
    //-------------------------------
    if (log_buffer[0] != '\0') { // null terminated strings!
      rPi_printf(log_buffer);
      log_buffer[0] = '\0'; // set index of string to null to effectively delete the string.
      // https://stackoverflow.com/questions/632846/clearing-a-char-array-c
    }
    if (readings_rdy_buffer[0] != '\0') {
      rPi_printf(readings_rdy_buffer);
      readings_rdy_buffer[0] = '\0';
    }

  /* USER CODE END WHILE */

  }

}

void SystemClock_Config(void)
{

  RCC_OscInitTypeDef RCC_OscInitStruct;
  RCC_ClkInitTypeDef RCC_ClkInitStruct;
  RCC_PeriphCLKInitTypeDef PeriphClkInit;

    /**Configure LSE Drive Capability
    */
  HAL_PWR_EnableBkUpAccess();

  __HAL_RCC_LSEDRIVE_CONFIG(RCC_LSEDRIVE_LOW);

    /**Initializes the CPU, AHB and APB busses clocks
    */
  RCC_OscInitStruct.OscillatorType = RCC_OSCILLATORTYPE_HSE|RCC_OSCILLATORTYPE_LSE;
  RCC_OscInitStruct.HSEState = RCC_HSE_ON;
  RCC_OscInitStruct.LSEState = RCC_LSE_ON;
  RCC_OscInitStruct.HSIState = RCC_HSI_ON;
  RCC_OscInitStruct.PLL.PLLState = RCC_PLL_ON;
  RCC_OscInitStruct.PLL.PLLSource = RCC_PLLSOURCE_HSE;
  RCC_OscInitStruct.PLL.PLLMUL = RCC_PLL_MUL9;
  RCC_OscInitStruct.PLL.PREDIV = RCC_PREDIV_DIV1;
  if (HAL_RCC_OscConfig(&RCC_OscInitStruct) != HAL_OK)
  {
    _Error_Handler(__FILE__, __LINE__);
  }

    /**Initializes the CPU, AHB and APB busses clocks
    */
  RCC_ClkInitStruct.ClockType = RCC_CLOCKTYPE_HCLK|RCC_CLOCKTYPE_SYSCLK
                              |RCC_CLOCKTYPE_PCLK1|RCC_CLOCKTYPE_PCLK2;
  RCC_ClkInitStruct.SYSCLKSource = RCC_SYSCLKSOURCE_PLLCLK;
  RCC_ClkInitStruct.AHBCLKDivider = RCC_SYSCLK_DIV1;
  RCC_ClkInitStruct.APB1CLKDivider = RCC_HCLK_DIV2;
  RCC_ClkInitStruct.APB2CLKDivider = RCC_HCLK_DIV1;

  if (HAL_RCC_ClockConfig(&RCC_ClkInitStruct, FLASH_LATENCY_2) != HAL_OK)
  {
    _Error_Handler(__FILE__, __LINE__);
  }

  PeriphClkInit.PeriphClockSelection = RCC_PERIPHCLK_USART1|RCC_PERIPHCLK_USART2
                              |RCC_PERIPHCLK_USART3|RCC_PERIPHCLK_I2C1
                              |RCC_PERIPHCLK_RTC|RCC_PERIPHCLK_TIM16
                              |RCC_PERIPHCLK_TIM8;
  PeriphClkInit.Usart1ClockSelection = RCC_USART1CLKSOURCE_SYSCLK;
  PeriphClkInit.Usart2ClockSelection = RCC_USART2CLKSOURCE_SYSCLK;
  PeriphClkInit.Usart3ClockSelection = RCC_USART3CLKSOURCE_SYSCLK;
  PeriphClkInit.I2c1ClockSelection = RCC_I2C1CLKSOURCE_SYSCLK;
  PeriphClkInit.RTCClockSelection = RCC_RTCCLKSOURCE_LSE;
  PeriphClkInit.Tim16ClockSelection = RCC_TIM16CLK_HCLK;
  PeriphClkInit.Tim8ClockSelection = RCC_TIM8CLK_HCLK;
  if (HAL_RCCEx_PeriphCLKConfig(&PeriphClkInit) != HAL_OK)
  {
    _Error_Handler(__FILE__, __LINE__);
  }

    /**Configure the Systick interrupt time
    */
  HAL_SYSTICK_Config(HAL_RCC_GetHCLKFreq()/1000);

    /**Configure the Systick
    */
  HAL_SYSTICK_CLKSourceConfig(SYSTICK_CLKSOURCE_HCLK);

  /* SysTick_IRQn interrupt configuration */
  HAL_NVIC_SetPriority(SysTick_IRQn, 0, 0);
}

/* USER CODE BEGIN 4 */
void HAL_GPIO_EXTI_Callback (uint16_t GPIO_Pin) {
  if (GPIO_Pin == RJ1_PULSE_Pin) {
    debug_printf("pulse!\r\n");
    pulseCount++;
  }
}
/* USER CODE END 4 */

void _Error_Handler(char *file, int line)
{
  /* USER CODE BEGIN Error_Handler_Debug */
  /* User can add his own implementation to report the HAL error return state */
  while (1)
  {
    sprintf(log_buffer, "sys_error:%s,line:%d\r\n", file, line);
    //debug_printf(log_buffer);
  }
  /* USER CODE END Error_Handler_Debug */
}

/************************ (C) COPYRIGHT STMicroelectronics *****END OF FILE****/
